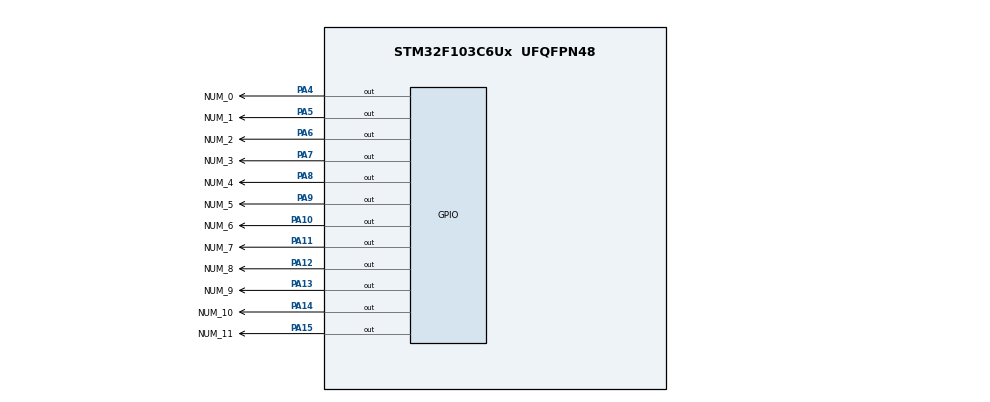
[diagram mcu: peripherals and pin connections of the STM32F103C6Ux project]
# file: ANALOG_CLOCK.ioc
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Mcu.Family=STM32F1
Mcu.Name=STM32F103C6Ux
Mcu.Package=UFQFPN48
NVIC.PriorityGroup=NVIC_PRIORITYGROUP_4
PA10.GPIO_Label=NUM_6
PA10.Signal=GPIO_Output
PA11.GPIO_Label=NUM_7
PA11.Signal=GPIO_Output
PA12.GPIO_Label=NUM_8
PA12.Signal=GPIO_Output
PA13.GPIO_Label=NUM_9
PA13.Signal=GPIO_Output
PA14.GPIO_Label=NUM_10
PA14.Signal=GPIO_Output
PA15.GPIO_Label=NUM_11
PA15.Signal=GPIO_Output
PA4.GPIO_Label=NUM_0
PA4.Signal=GPIO_Output
PA5.GPIO_Label=NUM_1
PA5.Signal=GPIO_Output
PA6.GPIO_Label=NUM_2
PA6.Signal=GPIO_Output
PA7.GPIO_Label=NUM_3
PA7.Signal=GPIO_Output
PA8.GPIO_Label=NUM_4
PA8.Signal=GPIO_Output
PA9.GPIO_Label=NUM_5
PA9.Signal=GPIO_Output
ProjectManager.HeapSize=0x200
ProjectManager.StackSize=0x400
ProjectManager.TargetToolchain=STM32CubeIDE
RCC.APB1Freq_Value=8000000
RCC.APB2Freq_Value=8000000
VP_SYS_VS_ND.Mode=No_Debug
board=custom

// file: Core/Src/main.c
/* USER CODE BEGIN Header */
/**
  ******************************************************************************
  * @file           : main.c
  * @brief          : Main program body
  ******************************************************************************
  * @attention
  *
  * <h2><center>&copy; Copyright (c) 2022 STMicroelectronics.
  * All rights reserved.</center></h2>
  *
  * This software component is licensed by ST under BSD 3-Clause license,
  * the "License"; You may not use this file except in compliance with the
  * License. You may obtain a copy of the License at:
  *                        opensource.org/licenses/BSD-3-Clause
  *
  ******************************************************************************
  */
/* USER CODE END Header */
#include "main.h"

void SystemClock_Config(void);
static void MX_GPIO_Init(void);

/* USER CODE BEGIN 0 */
void clearAllClock() {

	HAL_GPIO_WritePin(NUM_0_GPIO_Port, NUM_0_Pin, RESET);
	HAL_GPIO_WritePin(NUM_1_GPIO_Port, NUM_1_Pin, RESET);
	HAL_GPIO_WritePin(NUM_2_GPIO_Port, NUM_2_Pin, RESET);
	HAL_GPIO_WritePin(NUM_3_GPIO_Port, NUM_3_Pin, RESET);
	HAL_GPIO_WritePin(NUM_4_GPIO_Port, NUM_4_Pin, RESET);
	HAL_GPIO_WritePin(NUM_5_GPIO_Port, NUM_5_Pin, RESET);
	HAL_GPIO_WritePin(NUM_6_GPIO_Port, NUM_6_Pin, RESET);
	HAL_GPIO_WritePin(NUM_7_GPIO_Port, NUM_7_Pin, RESET);
	HAL_GPIO_WritePin(NUM_8_GPIO_Port, NUM_8_Pin, RESET);
	HAL_GPIO_WritePin(NUM_9_GPIO_Port, NUM_9_Pin, RESET);
	HAL_GPIO_WritePin(NUM_10_GPIO_Port, NUM_10_Pin, RESET);
	HAL_GPIO_WritePin(NUM_11_GPIO_Port, NUM_11_Pin, RESET);
}

void setNumberOnClock(int num) {
	switch(num) {
		case 0: HAL_GPIO_WritePin(NUM_0_GPIO_Port, NUM_0_Pin, SET); break;
		case 1: HAL_GPIO_WritePin(NUM_1_GPIO_Port, NUM_1_Pin, SET); break;
		case 2: HAL_GPIO_WritePin(NUM_2_GPIO_Port, NUM_2_Pin, SET); break;
		case 3: HAL_GPIO_WritePin(NUM_3_GPIO_Port, NUM_3_Pin, SET); break;
		case 4: HAL_GPIO_WritePin(NUM_4_GPIO_Port, NUM_4_Pin, SET); break;
		case 5: HAL_GPIO_WritePin(NUM_5_GPIO_Port, NUM_5_Pin, SET); break;
		case 6: HAL_GPIO_WritePin(NUM_6_GPIO_Port, NUM_6_Pin, SET); break;
		case 7: HAL_GPIO_WritePin(NUM_7_GPIO_Port, NUM_7_Pin, SET); break;
		case 8: HAL_GPIO_WritePin(NUM_8_GPIO_Port, NUM_8_Pin, SET); break;
		case 9: HAL_GPIO_WritePin(NUM_9_GPIO_Port, NUM_9_Pin, SET); break;
		case 10: HAL_GPIO_WritePin(NUM_10_GPIO_Port, NUM_10_Pin, SET); break;
		case 11: HAL_GPIO_WritePin(NUM_11_GPIO_Port, NUM_11_Pin, SET); break;
		default: break;
	}
}

void clearNumberOnClock(int num) {
	switch(num) {
		case 0: HAL_GPIO_WritePin(NUM_0_GPIO_Port, NUM_0_Pin, RESET); break;
		case 1: HAL_GPIO_WritePin(NUM_1_GPIO_Port, NUM_1_Pin, RESET); break;
		case 2: HAL_GPIO_WritePin(NUM_2_GPIO_Port, NUM_2_Pin, RESET); break;
		case 3: HAL_GPIO_WritePin(NUM_3_GPIO_Port, NUM_3_Pin, RESET); break;
		case 4: HAL_GPIO_WritePin(NUM_4_GPIO_Port, NUM_4_Pin, RESET); break;
		case 5: HAL_GPIO_WritePin(NUM_5_GPIO_Port, NUM_5_Pin, RESET); break;
		case 6: HAL_GPIO_WritePin(NUM_6_GPIO_Port, NUM_6_Pin, RESET); break;
		case 7: HAL_GPIO_WritePin(NUM_7_GPIO_Port, NUM_7_Pin, RESET); break;
		case 8: HAL_GPIO_WritePin(NUM_8_GPIO_Port, NUM_8_Pin, RESET); break;
		case 9: HAL_GPIO_WritePin(NUM_9_GPIO_Port, NUM_9_Pin, RESET); break;
		case 10: HAL_GPIO_WritePin(NUM_10_GPIO_Port, NUM_10_Pin, RESET); break;
		case 11: HAL_GPIO_WritePin(NUM_11_GPIO_Port, NUM_11_Pin, RESET); break;
		default: break;
	}
}
/* USER CODE END 0 */

int main(void)
{

  /* MCU Configuration--------------------------------------------------------*/

  /* Reset of all peripherals, Initializes the Flash interface and the Systick. */
  HAL_Init();

  /* Configure the system clock */
  SystemClock_Config();

  /* Initialize all configured peripherals */
  MX_GPIO_Init();

  /* Infinite loop */
  /* USER CODE BEGIN WHILE */

  /* GET TIME HERE */
  //int count = 0;
  int hour = 0;
  int minute = 20;
  int second = 10;
  clearAllClock();

  while (1)
  {
	  clearNumberOnClock(((second - 5) / 5) % 12); //Clear the previous second showed on Clock
	  if (second < 60) {
		  setNumberOnClock((second / 5) % 12);
		  setNumberOnClock((minute / 5) % 12);
		  setNumberOnClock(hour % 12);
		  second++;
	  }
	  if (second >= 60) //The second hand turn a cycle -> second reset to 0, minute increase 1
	  {
		  clearNumberOnClock(((second - 5) / 5) % 12); //Clear the previous second showed on Clock
		  second = 0;
		  clearNumberOnClock((minute / 5) % 12);
		  minute++;
	  }

	  if (minute >= 60) //The minute hand turn a cycle -> minute reset to 0, hour increase 1
	  {
		  minute = 0;
	  	  clearNumberOnClock(hour % 12);
	  	  hour++;
	  }

	  if (hour >= 12) //The hour mark turn a cycle -> hour reset to 0
	  {
		  hour = 0;
	  }

//	  if (count >= 12) {
//		  count = 0;
//		  clearAllClock();
//	  }
//	  else {
//		  setNumberOnClock(count);
//		  count ++;
//	  }

	  HAL_Delay(50);
    /* USER CODE END WHILE */

  }
}

void SystemClock_Config(void)
{
  RCC_OscInitTypeDef RCC_OscInitStruct = {0};
  RCC_ClkInitTypeDef RCC_ClkInitStruct = {0};

  /** Initializes the RCC Oscillators according to the specified parameters
  * in the RCC_OscInitTypeDef structure.
  */
  RCC_OscInitStruct.OscillatorType = RCC_OSCILLATORTYPE_HSI;
  RCC_OscInitStruct.HSIState = RCC_HSI_ON;
  RCC_OscInitStruct.HSICalibrationValue = RCC_HSICALIBRATION_DEFAULT;
  RCC_OscInitStruct.PLL.PLLState = RCC_PLL_NONE;
  if (HAL_RCC_OscConfig(&RCC_OscInitStruct) != HAL_OK)
  {
    Error_Handler();
  }
  /** Initializes the CPU, AHB and APB buses clocks
  */
  RCC_ClkInitStruct.ClockType = RCC_CLOCKTYPE_HCLK|RCC_CLOCKTYPE_SYSCLK
                              |RCC_CLOCKTYPE_PCLK1|RCC_CLOCKTYPE_PCLK2;
  RCC_ClkInitStruct.SYSCLKSource = RCC_SYSCLKSOURCE_HSI;
  RCC_ClkInitStruct.AHBCLKDivider = RCC_SYSCLK_DIV1;
  RCC_ClkInitStruct.APB1CLKDivider = RCC_HCLK_DIV1;
  RCC_ClkInitStruct.APB2CLKDivider = RCC_HCLK_DIV1;

  if (HAL_RCC_ClockConfig(&RCC_ClkInitStruct, FLASH_LATENCY_0) != HAL_OK)
  {
    Error_Handler();
  }
}

static void MX_GPIO_Init(void)
{
  GPIO_InitTypeDef GPIO_InitStruct = {0};

  /* GPIO Ports Clock Enable */
  __HAL_RCC_GPIOA_CLK_ENABLE();

  /*Configure GPIO pin Output Level */
  HAL_GPIO_WritePin(GPIOA, NUM_0_Pin|NUM_1_Pin|NUM_2_Pin|NUM_3_Pin
                          |NUM_4_Pin|NUM_5_Pin|NUM_6_Pin|NUM_7_Pin
                          |NUM_8_Pin|NUM_9_Pin|NUM_10_Pin|NUM_11_Pin, GPIO_PIN_RESET);

  /*Configure GPIO pins : NUM_0_Pin NUM_1_Pin NUM_2_Pin NUM_3_Pin
                           NUM_4_Pin NUM_5_Pin NUM_6_Pin NUM_7_Pin
                           NUM_8_Pin NUM_9_Pin NUM_10_Pin NUM_11_Pin */
  GPIO_InitStruct.Pin = NUM_0_Pin|NUM_1_Pin|NUM_2_Pin|NUM_3_Pin
                          |NUM_4_Pin|NUM_5_Pin|NUM_6_Pin|NUM_7_Pin
                          |NUM_8_Pin|NUM_9_Pin|NUM_10_Pin|NUM_11_Pin;
  GPIO_InitStruct.Mode = GPIO_MODE_OUTPUT_PP;
  GPIO_InitStruct.Pull = GPIO_NOPULL;
  GPIO_InitStruct.Speed = GPIO_SPEED_FREQ_LOW;
  HAL_GPIO_Init(GPIOA, &GPIO_InitStruct);

}

void Error_Handler(void)
{
  __disable_irq();
  while (1)
  {
  }
}

/************************ (C) COPYRIGHT STMicroelectronics *****END OF FILE****/
